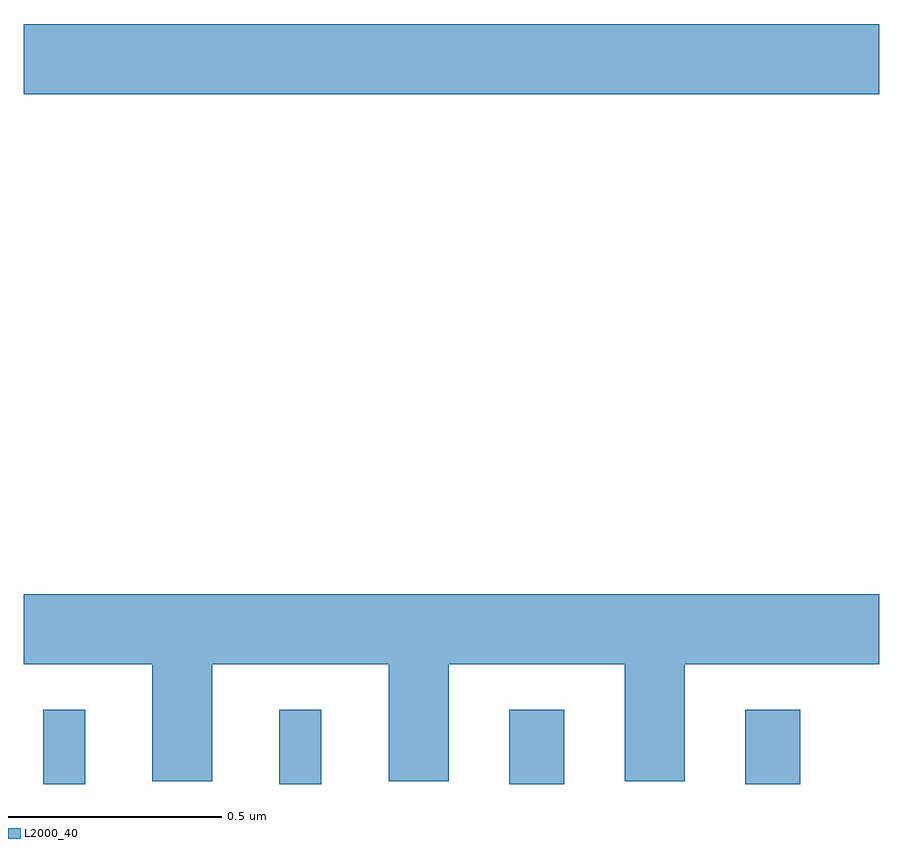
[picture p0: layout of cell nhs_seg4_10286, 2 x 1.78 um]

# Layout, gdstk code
import gdstk
lib = gdstk.Library(unit=1e-6, precision=1e-09)
def R(c, l, rs):  # rectangles x0, y0, x1, y1
    for r in rs: c.add(gdstk.rectangle(r[:2], r[2:], *l))
def P(c, l, *ps):  # polygons
    for p in ps: c.add(gdstk.Polygon(p, *l))
L2000_40 = (2000, 40)

nhs_seg4_10286 = lib.new_cell('nhs_seg4_10286')
R(nhs_seg4_10286, L2000_40, [(238.046,769.9,238.144,770.074), (238.598,769.9,238.696,770.074), (239.135,769.9,239.263,770.074), (239.687,769.9,239.815,770.074), (238,771.512,240,771.676)])
P(nhs_seg4_10286, L2000_40, [(238.441,770.18),(238.853,770.18),(238.853,769.907),(238.993,769.907),(238.993,770.18),(239.405,770.18),(239.405,769.907),(239.545,769.907),(239.545,770.18),(240,770.18),(240,770.344),(238,770.344),(238,770.18),(238.301,770.18),(238.301,769.907),(238.441,769.907)])

lib.write_gds('nhs_seg4_10286.gds')
